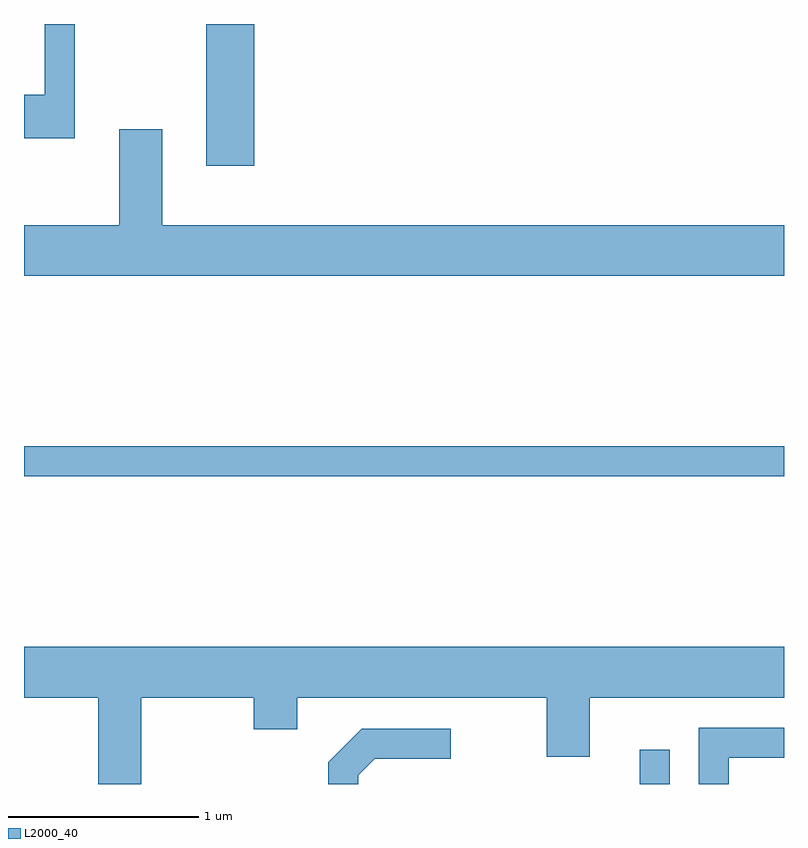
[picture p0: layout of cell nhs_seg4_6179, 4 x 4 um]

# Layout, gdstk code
import gdstk
lib = gdstk.Library(unit=1e-6, precision=1e-09)
def R(c, l, rs):  # rectangles x0, y0, x1, y1
    for r in rs: c.add(gdstk.rectangle(r[:2], r[2:], *l))
def P(c, l, *ps):  # polygons
    for p in ps: c.add(gdstk.Polygon(p, *l))
L2000_40 = (2000, 40)

nhs_seg4_6179 = lib.new_cell('nhs_seg4_6179')
R(nhs_seg4_6179, L2000_40, [(368.851,1371.982,369.009,1372.163), (365.611,1373.601,369.611,1373.759), (366.571,1375.236,366.824,1375.982)])
P(nhs_seg4_6179, L2000_40, [(365.879,1375.982),(365.721,1375.982),(365.721,1375.609),(365.611,1375.609),(365.611,1375.381),(365.879,1375.381)],
  [(369.611,1374.924),(366.339,1374.924),(366.339,1375.429),(366.111,1375.429),(366.111,1374.924),(365.611,1374.924),(365.611,1374.656),(369.611,1374.656)],
  [(366.229,1372.436),(366.821,1372.436),(366.821,1372.271),(367.049,1372.271),(367.049,1372.436),(368.361,1372.436),(368.361,1372.126),(368.589,1372.126),(368.589,1372.436),(369.611,1372.436),(369.611,1372.704),(365.611,1372.704),(365.611,1372.436),(366.001,1372.436),(366.001,1371.982),(366.229,1371.982)],
  [(369.319,1372.121),(369.611,1372.121),(369.611,1372.279),(369.161,1372.279),(369.161,1371.982),(369.319,1371.982)],
  [(367.369,1372.029),(367.457,1372.116),(367.858,1372.116),(367.858,1372.274),(367.389,1372.274),(367.211,1372.097),(367.211,1371.982),(367.369,1371.982)])

lib.write_gds('nhs_seg4_6179.gds')
